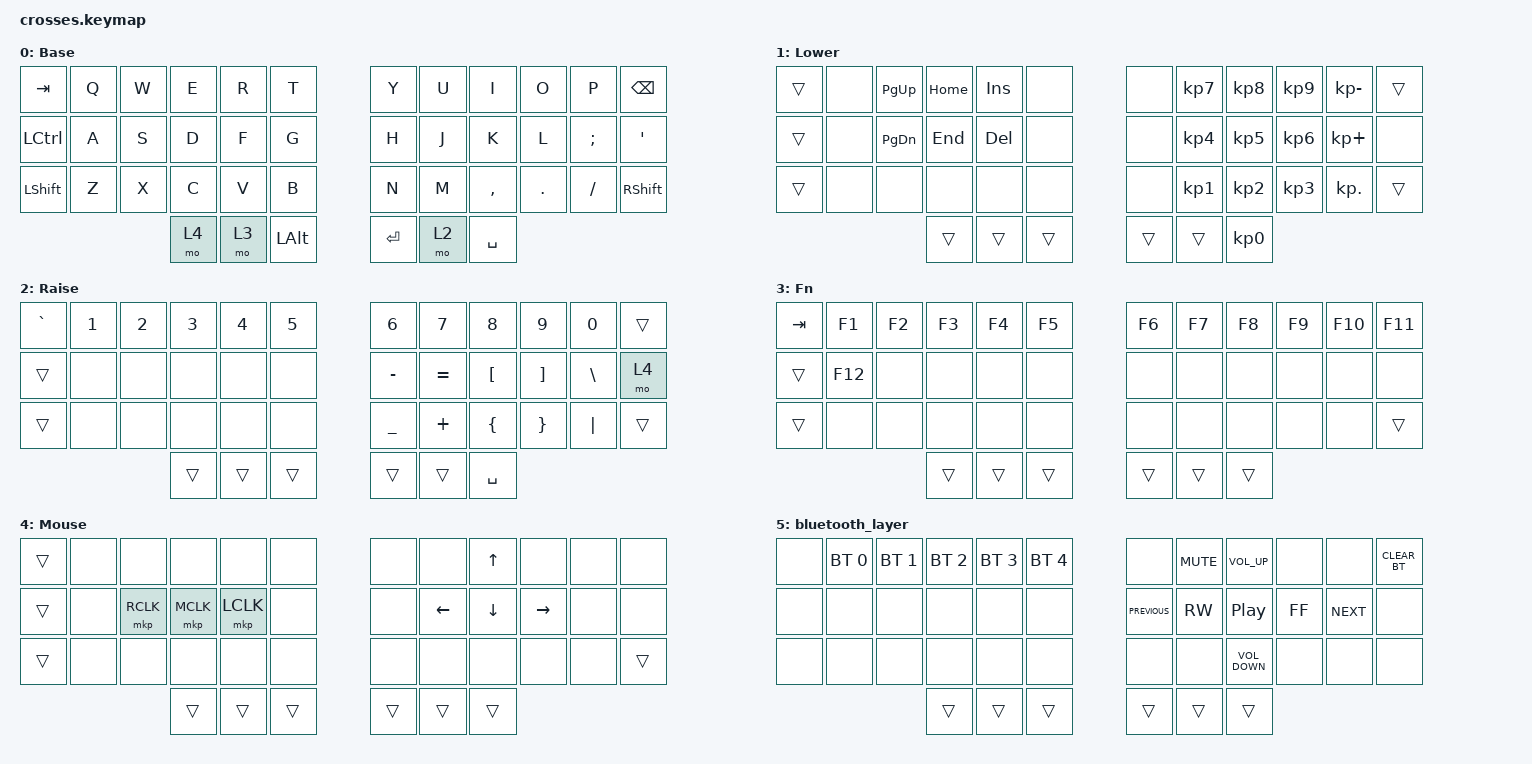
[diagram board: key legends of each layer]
#include <behaviors.dtsi>
#include <dt-bindings/zmk/bt.h>
#include <dt-bindings/zmk/keys.h>
#include <dt-bindings/zmk/pointing.h>

/ {
    chosen { zmk,physical-layout = &gggw_crosses_42_layout; };

    combos {
        compatible = "zmk,combos";

        bluetooth_layer {
            bindings = <&mo 5>;
            key-positions = <37 40>;
        };

        studio_unlock {
            bindings = <&studio_unlock>;
            key-positions = <35 24>;
            layers = <5>;
        };

        left_gui_combo {
            bindings = <&kp LEFT_GUI>;
            key-positions = <36 37>;
        };

        ctrl_alt_del {
            bindings = <&kp LC(LA(DEL))>;
            key-positions = <38 37 36>;
        };

        escape_combo {
            bindings = <&kp ESC>;
            key-positions = <38 37>;
        };

        capslock_combo {
            bindings = <&kp CAPSLOCK>;
            key-positions = <24 35>;
            layers = <0>;
        };
    };

    behaviors {
        CLEAR_BT: CLEAR_BT {
            compatible = "zmk,behavior-tap-dance";
            label = "CLEAR_BT";
            #binding-cells = <0>;
            bindings = <&bt BT_CLR>, <&bt BT_CLR_ALL>;
        };
    };

    keymap {
        compatible = "zmk,keymap";

        default_layer {
            display-name = "Base";
            bindings = <
&kp TAB    &kp Q  &kp W  &kp E  &kp R  &kp T         &kp Y    &kp U  &kp I      &kp O    &kp P     &kp BSPC
&kp LCTRL  &kp A  &kp S  &kp D  &kp F  &kp G         &kp H    &kp J  &kp K      &kp L    &kp SEMI  &kp APOSTROPHE
&kp LSHFT  &kp Z  &kp X  &kp C  &kp V  &kp B         &kp N    &kp M  &kp COMMA  &kp DOT  &kp FSLH  &kp RSHFT
                         &mo 4  &mo 3  &kp LEFT_ALT  &kp RET  &mo 2  &kp SPACE
            >;
        };

        lower_layer {
            display-name = "Lower";
            bindings = <
&trans  &none  &kp PAGE_UP    &kp HOME  &kp INSERT  &none   &none   &kp KP_NUMBER_7  &kp KP_NUMBER_8  &kp KP_NUMBER_9  &kp KP_SUBTRACT  &trans
&trans  &none  &kp PAGE_DOWN  &kp END   &kp DEL     &none   &none   &kp KP_NUMBER_4  &kp KP_NUMBER_5  &kp KP_NUMBER_6  &kp KP_PLUS      &none
&trans  &none  &none          &none     &none       &none   &none   &kp KP_NUMBER_1  &kp KP_NUMBER_2  &kp KP_NUMBER_3  &kp KP_DOT       &trans
                              &trans    &trans      &trans  &trans  &trans           &kp KP_NUMBER_0
            >;
        };

        raise_layer {
            display-name = "Raise";
            bindings = <
&kp GRAVE  &kp NUMBER_1  &kp NUMBER_2  &kp NUMBER_3  &kp NUMBER_4  &kp N5  &kp NUMBER_6  &kp N7     &kp N8     &kp N9    &kp N0    &trans
&trans     &none         &none         &none         &none         &none   &kp MINUS     &kp EQUAL  &kp LBKT   &kp RBKT  &kp BSLH  &mo 4
&trans     &none         &none         &none         &none         &none   &kp UNDER     &kp PLUS   &kp LBRC   &kp RBRC  &kp PIPE  &trans
                                       &trans        &trans        &trans  &trans        &trans     &kp SPACE
            >;
        };

        Fn {
            bindings = <
&kp TAB  &kp F1   &kp F2  &kp F3  &kp F4  &kp F5  &kp F6  &kp F7  &kp F8  &kp F9  &kp F10  &kp F11
&trans   &kp F12  &none   &none   &none   &none   &none   &none   &none   &none   &none    &none
&trans   &none    &none   &none   &none   &none   &none   &none   &none   &none   &none    &trans
                          &trans  &trans  &trans  &trans  &trans  &trans
            >;
        };

        mouse_layer {
            display-name = "Mouse";
            bindings = <
&trans  &none  &none      &none      &none      &none   &none   &none     &kp UP    &none      &none  &none
&trans  &none  &mkp RCLK  &mkp MCLK  &mkp LCLK  &none   &none   &kp LEFT  &kp DOWN  &kp RIGHT  &none  &none
&trans  &none  &none      &none      &none      &none   &none   &none     &none     &none      &none  &trans
                          &trans     &trans     &trans  &trans  &trans    &trans
            >;
        };

        bluetooth_layer {
            bindings = <
&none  &bt BT_SEL 0  &bt BT_SEL 1  &bt BT_SEL 2  &bt BT_SEL 3  &bt BT_SEL 4  &none           &kp C_MUTE  &kp C_VOLUME_UP    &none     &none       &CLEAR_BT
&none  &none         &none         &none         &none         &none         &kp C_PREVIOUS  &kp C_RW    &kp C_PLAY_PAUSE   &kp C_FF  &kp C_NEXT  &none
&none  &none         &none         &none         &none         &none         &none           &none       &kp C_VOLUME_DOWN  &none     &none       &none
                                   &trans        &trans        &trans        &trans          &trans      &trans
            >;
        };
    };
};
